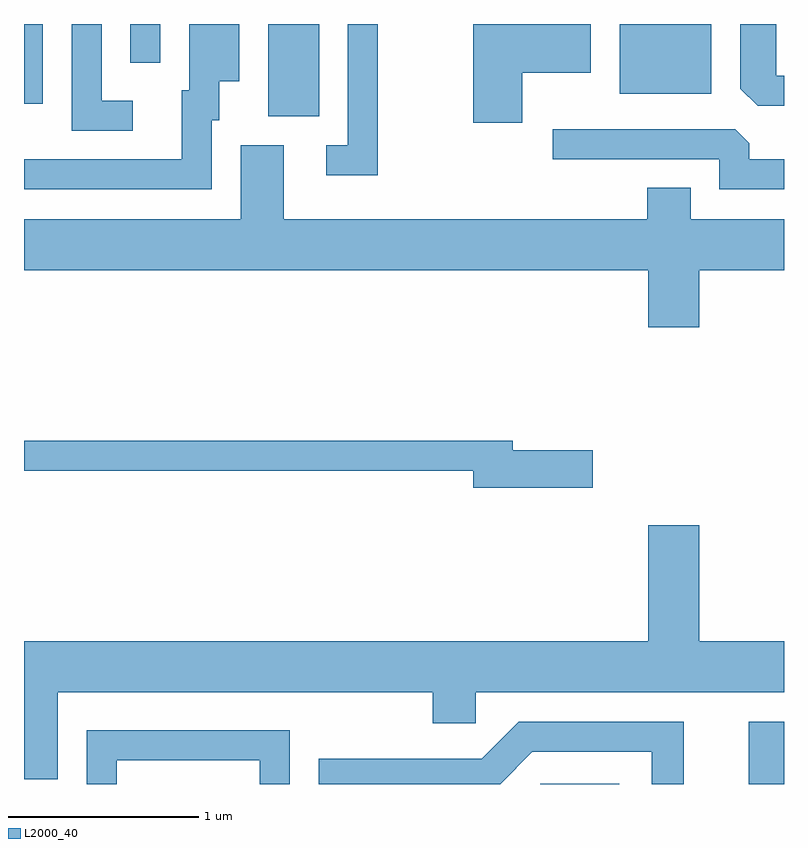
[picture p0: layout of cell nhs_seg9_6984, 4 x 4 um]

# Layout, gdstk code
import gdstk
lib = gdstk.Library(unit=1e-6, precision=1e-09)
def R(c, l, rs):  # rectangles x0, y0, x1, y1
    for r in rs: c.add(gdstk.rectangle(r[:2], r[2:], *l))
def P(c, l, *ps):  # polygons
    for p in ps: c.add(gdstk.Polygon(p, *l))
L2000_40 = (2000, 40)

nhs_seg9_6984 = lib.new_cell('nhs_seg9_6984')
R(nhs_seg9_6984, L2000_40, [(394.328,2002.432,394.744,2002.434), (395.426,2002.432,395.611,2002.759), (392.896,2005.946,393.164,2006.432), (391.611,2006.011,391.709,2006.432), (394.746,2006.066,395.229,2006.432), (392.171,2006.228,392.329,2006.432)])
P(nhs_seg9_6984, L2000_40, [(394.234,2006.176),(394.594,2006.176),(394.594,2006.432),(393.976,2006.432),(393.976,2005.911),(394.234,2005.911)],
  [(395.611,2006.159),(395.569,2006.159),(395.569,2006.432),(395.381,2006.432),(395.381,2006.092),(395.472,2006.001),(395.611,2006.001)],
  [(392.183,2006.029),(392.019,2006.029),(392.019,2006.432),(391.861,2006.432),(391.861,2005.871),(392.183,2005.871)],
  [(393.474,2006.432),(393.316,2006.432),(393.316,2005.794),(393.203,2005.794),(393.203,2005.636),(393.474,2005.636)],
  [(392.599,2005.926),(392.639,2005.926),(392.639,2006.131),(392.744,2006.131),(392.744,2006.432),(392.481,2006.432),(392.481,2006.084),(392.441,2006.084),(392.441,2005.719),(391.611,2005.719),(391.611,2005.561),(392.599,2005.561)],
  [(395.611,2005.719),(395.429,2005.719),(395.429,2005.804),(395.354,2005.879),(394.393,2005.879),(394.393,2005.721),(395.271,2005.721),(395.271,2005.561),(395.611,2005.561)],
  [(395.164,2005.136),(395.611,2005.136),(395.611,2005.404),(395.119,2005.404),(395.119,2005.569),(394.891,2005.569),(394.891,2005.404),(392.979,2005.404),(392.979,2005.794),(392.751,2005.794),(392.751,2005.404),(391.611,2005.404),(391.611,2005.136),(394.896,2005.136),(394.896,2004.836),(395.164,2004.836)],
  [(394.604,2004.189),(394.184,2004.189),(394.184,2004.239),(391.611,2004.239),(391.611,2004.081),(393.976,2004.081),(393.976,2003.991),(394.604,2003.991)],
  [(391.789,2002.916),(393.761,2002.916),(393.761,2002.751),(393.989,2002.751),(393.989,2002.916),(395.611,2002.916),(395.611,2003.184),(395.164,2003.184),(395.164,2003.794),(394.896,2003.794),(394.896,2003.184),(391.611,2003.184),(391.611,2002.456),(391.789,2002.456)],
  [(394.287,2002.601),(394.916,2002.601),(394.916,2002.432),(395.084,2002.432),(395.084,2002.759),(394.214,2002.759),(394.019,2002.564),(393.161,2002.564),(393.161,2002.432),(394.118,2002.432)],
  [(392.099,2002.556),(392.851,2002.556),(392.851,2002.432),(393.009,2002.432),(393.009,2002.714),(391.941,2002.714),(391.941,2002.432),(392.099,2002.432)])

lib.write_gds('nhs_seg9_6984.gds')
